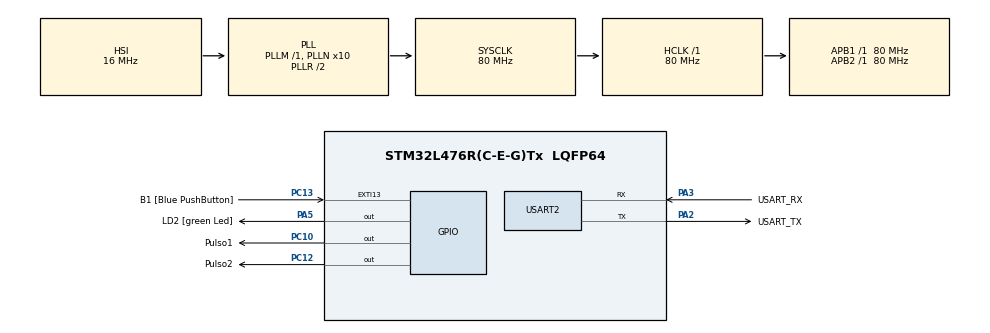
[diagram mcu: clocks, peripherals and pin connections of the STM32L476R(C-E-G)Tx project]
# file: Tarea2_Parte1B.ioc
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FREERTOS.Tasks01=Task_Pulso1,8,128,StartDefaultTask,Default,NULL,Dynamic,NULL,NULL;Task_Pulso2,8,128,StartTask02,Default,NULL,Dynamic,NULL,NULL;Multiplicar,40,128,StartTask03,Default,NULL,Dynamic,NULL,NULL
Mcu.Family=STM32L4
Mcu.Name=STM32L476R(C-E-G)Tx
Mcu.Package=LQFP64
NVIC.PriorityGroup=NVIC_PRIORITYGROUP_4
NVIC.TIM6_DAC_IRQn=true\:15\:0\:false\:false\:true\:false\:false\:true\:true
NVIC.TimeBase=TIM6_DAC_IRQn
NVIC.TimeBaseIP=TIM6
PA13\ (JTMS-SWDIO).GPIO_Label=TMS
PA13\ (JTMS-SWDIO).Mode=Serial_Wire
PA13\ (JTMS-SWDIO).Signal=SYS_JTMS-SWDIO
PA14\ (JTCK-SWCLK).GPIO_Label=TCK
PA14\ (JTCK-SWCLK).Mode=Serial_Wire
PA14\ (JTCK-SWCLK).Signal=SYS_JTCK-SWCLK
PA2.GPIO_Label=USART_TX
PA2.GPIO_Mode=GPIO_MODE_AF_PP
PA2.GPIO_PuPd=GPIO_NOPULL
PA2.GPIO_Speed=GPIO_SPEED_FREQ_VERY_HIGH
PA2.Mode=Asynchronous
PA2.Signal=USART2_TX
PA3.GPIO_Label=USART_RX
PA3.GPIO_Mode=GPIO_MODE_AF_PP
PA3.GPIO_PuPd=GPIO_NOPULL
PA3.GPIO_Speed=GPIO_SPEED_FREQ_VERY_HIGH
PA3.Mode=Asynchronous
PA3.Signal=USART2_RX
PA5.GPIO_Label=LD2 [green Led]
PA5.GPIO_ModeDefaultOutputPP=GPIO_MODE_OUTPUT_PP
PA5.GPIO_PuPd=GPIO_NOPULL
PA5.GPIO_Speed=GPIO_SPEED_FREQ_LOW
PA5.Signal=GPIO_Output
PB3\ (JTDO-TRACESWO).GPIO_Label=SWO
PB3\ (JTDO-TRACESWO).Signal=SYS_JTDO-SWO
PC10.GPIO_Label=Pulso1
PC10.Signal=GPIO_Output
PC12.GPIO_Label=Pulso2
PC12.Signal=GPIO_Output
PC13.GPIO_Label=B1 [Blue PushButton]
PC13.GPIO_ModeDefaultEXTI=GPIO_MODE_IT_FALLING
PC13.GPIO_PuPd=GPIO_NOPULL
PC13.Signal=GPXTI13
PC14-OSC32_IN\ (PC14).Mode=LSE-External-Oscillator
PC14-OSC32_IN\ (PC14).Signal=RCC_OSC32_IN
PC15-OSC32_OUT\ (PC15).Mode=LSE-External-Oscillator
PC15-OSC32_OUT\ (PC15).Signal=RCC_OSC32_OUT
PH0-OSC_IN\ (PH0).Signal=RCC_OSC_IN
PH1-OSC_OUT\ (PH1).Signal=RCC_OSC_OUT
ProjectManager.HeapSize=0x200
ProjectManager.StackSize=0x400
ProjectManager.TargetToolchain=STM32CubeIDE
RCC.ADCFreq_Value=64000000
RCC.AHBFreq_Value=80000000
RCC.APB1Freq_Value=80000000
RCC.APB1TimFreq_Value=80000000
RCC.APB2Freq_Value=80000000
RCC.APB2TimFreq_Value=80000000
RCC.CortexFreq_Value=80000000
RCC.HCLKFreq_Value=80000000
RCC.HSE_VALUE=8000000
RCC.HSI_VALUE=16000000
RCC.MSI_VALUE=4000000
RCC.PLLN=10
RCC.PLLSourceVirtual=RCC_PLLSOURCE_HSI
RCC.PREFETCH_ENABLE=1
RCC.SYSCLKFreq_VALUE=80000000
RCC.SYSCLKSource=RCC_SYSCLKSOURCE_PLLCLK
RCC.USBFreq_Value=64000000
RCC.VCOOutputFreq_Value=160000000
USART2.VirtualMode-Asynchronous=VM_ASYNC
VP_FREERTOS_VS_CMSIS_V2.Mode=CMSIS_V2
VP_SYS_VS_tim6.Mode=TIM6
board=NUCLEO-L476RG

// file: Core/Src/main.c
/* USER CODE BEGIN Header */
/**
  ******************************************************************************
  * @file           : main.c
  * @brief          : Main program body
  ******************************************************************************
  * @attention
  *
  * Copyright (c) 2026 STMicroelectronics.
  * All rights reserved.
  *
  * This software is licensed under terms that can be found in the LICENSE file
  * in the root directory of this software component.
  * If no LICENSE file comes with this software, it is provided AS-IS.
  *
  ******************************************************************************
  */
/* USER CODE END Header */
#include "main.h"
#include "cmsis_os.h"
#include "stdlib.h"

/* USER CODE BEGIN PD */
#define tamano_arr 100
/* USER CODE END PD */

UART_HandleTypeDef huart2;

/* Definitions for Task_Pulso1 */
osThreadId_t Task_Pulso1Handle;
const osThreadAttr_t Task_Pulso1_attributes = {
  .name = "Task_Pulso1",
  .stack_size = 128 * 4,
  .priority = (osPriority_t) osPriorityLow,
};
/* Definitions for Task_Pulso2 */
osThreadId_t Task_Pulso2Handle;
const osThreadAttr_t Task_Pulso2_attributes = {
  .name = "Task_Pulso2",
  .stack_size = 128 * 4,
  .priority = (osPriority_t) osPriorityLow,
};
/* Definitions for Multiplicar */
osThreadId_t MultiplicarHandle;
const osThreadAttr_t Multiplicar_attributes = {
  .name = "Multiplicar",
  .stack_size = 128 * 4,
  .priority = (osPriority_t) osPriorityHigh,
};
/* USER CODE BEGIN PV */
volatile float fact1[tamano_arr];
volatile float fact2[tamano_arr];
volatile float prod[tamano_arr];
/* USER CODE END PV */

void SystemClock_Config(void);
static void MX_GPIO_Init(void);
static void MX_USART2_UART_Init(void);
void StartDefaultTask(void *argument);
void StartTask02(void *argument);
void StartTask03(void *argument);

int main(void)
{

  /* MCU Configuration--------------------------------------------------------*/

  /* Reset of all peripherals, Initializes the Flash interface and the Systick. */
  HAL_Init();

  /* Configure the system clock */
  SystemClock_Config();

  /* Initialize all configured peripherals */
  MX_GPIO_Init();
  MX_USART2_UART_Init();

  /* Init scheduler */
  osKernelInitialize();

  /* Create the thread(s) */
  /* creation of Task_Pulso1 */
  Task_Pulso1Handle = osThreadNew(StartDefaultTask, NULL, &Task_Pulso1_attributes);

  /* creation of Task_Pulso2 */
  Task_Pulso2Handle = osThreadNew(StartTask02, NULL, &Task_Pulso2_attributes);

  /* creation of Multiplicar */
  MultiplicarHandle = osThreadNew(StartTask03, NULL, &Multiplicar_attributes);

  /* Start scheduler */
  osKernelStart();

  /* We should never get here as control is now taken by the scheduler */
  /* Infinite loop */
  while (1)
  {

  }
}

void SystemClock_Config(void)
{
  RCC_OscInitTypeDef RCC_OscInitStruct = {0};
  RCC_ClkInitTypeDef RCC_ClkInitStruct = {0};

  /** Configure the main internal regulator output voltage
  */
  if (HAL_PWREx_ControlVoltageScaling(PWR_REGULATOR_VOLTAGE_SCALE1) != HAL_OK)
  {
    Error_Handler();
  }

  /** Initializes the RCC Oscillators according to the specified parameters
  * in the RCC_OscInitTypeDef structure.
  */
  RCC_OscInitStruct.OscillatorType = RCC_OSCILLATORTYPE_HSI;
  RCC_OscInitStruct.HSIState = RCC_HSI_ON;
  RCC_OscInitStruct.HSICalibrationValue = RCC_HSICALIBRATION_DEFAULT;
  RCC_OscInitStruct.PLL.PLLState = RCC_PLL_ON;
  RCC_OscInitStruct.PLL.PLLSource = RCC_PLLSOURCE_HSI;
  RCC_OscInitStruct.PLL.PLLM = 1;
  RCC_OscInitStruct.PLL.PLLN = 10;
  RCC_OscInitStruct.PLL.PLLP = RCC_PLLP_DIV7;
  RCC_OscInitStruct.PLL.PLLQ = RCC_PLLQ_DIV2;
  RCC_OscInitStruct.PLL.PLLR = RCC_PLLR_DIV2;
  if (HAL_RCC_OscConfig(&RCC_OscInitStruct) != HAL_OK)
  {
    Error_Handler();
  }

  /** Initializes the CPU, AHB and APB buses clocks
  */
  RCC_ClkInitStruct.ClockType = RCC_CLOCKTYPE_HCLK|RCC_CLOCKTYPE_SYSCLK
                              |RCC_CLOCKTYPE_PCLK1|RCC_CLOCKTYPE_PCLK2;
  RCC_ClkInitStruct.SYSCLKSource = RCC_SYSCLKSOURCE_PLLCLK;
  RCC_ClkInitStruct.AHBCLKDivider = RCC_SYSCLK_DIV1;
  RCC_ClkInitStruct.APB1CLKDivider = RCC_HCLK_DIV1;
  RCC_ClkInitStruct.APB2CLKDivider = RCC_HCLK_DIV1;

  if (HAL_RCC_ClockConfig(&RCC_ClkInitStruct, FLASH_LATENCY_4) != HAL_OK)
  {
    Error_Handler();
  }
}

static void MX_USART2_UART_Init(void)
{

  huart2.Instance = USART2;
  huart2.Init.BaudRate = 115200;
  huart2.Init.WordLength = UART_WORDLENGTH_8B;
  huart2.Init.StopBits = UART_STOPBITS_1;
  huart2.Init.Parity = UART_PARITY_NONE;
  huart2.Init.Mode = UART_MODE_TX_RX;
  huart2.Init.HwFlowCtl = UART_HWCONTROL_NONE;
  huart2.Init.OverSampling = UART_OVERSAMPLING_16;
  huart2.Init.OneBitSampling = UART_ONE_BIT_SAMPLE_DISABLE;
  huart2.AdvancedInit.AdvFeatureInit = UART_ADVFEATURE_NO_INIT;
  if (HAL_UART_Init(&huart2) != HAL_OK)
  {
    Error_Handler();
  }

}

static void MX_GPIO_Init(void)
{
  GPIO_InitTypeDef GPIO_InitStruct = {0};

  /* GPIO Ports Clock Enable */
  __HAL_RCC_GPIOC_CLK_ENABLE();
  __HAL_RCC_GPIOH_CLK_ENABLE();
  __HAL_RCC_GPIOA_CLK_ENABLE();
  __HAL_RCC_GPIOB_CLK_ENABLE();

  /*Configure GPIO pin Output Level */
  HAL_GPIO_WritePin(LD2_GPIO_Port, LD2_Pin, GPIO_PIN_RESET);

  /*Configure GPIO pin Output Level */
  HAL_GPIO_WritePin(GPIOC, Pulso1_Pin|Pulso2_Pin, GPIO_PIN_RESET);

  /*Configure GPIO pin : B1_Pin */
  GPIO_InitStruct.Pin = B1_Pin;
  GPIO_InitStruct.Mode = GPIO_MODE_IT_FALLING;
  GPIO_InitStruct.Pull = GPIO_NOPULL;
  HAL_GPIO_Init(B1_GPIO_Port, &GPIO_InitStruct);

  /*Configure GPIO pin : LD2_Pin */
  GPIO_InitStruct.Pin = LD2_Pin;
  GPIO_InitStruct.Mode = GPIO_MODE_OUTPUT_PP;
  GPIO_InitStruct.Pull = GPIO_NOPULL;
  GPIO_InitStruct.Speed = GPIO_SPEED_FREQ_LOW;
  HAL_GPIO_Init(LD2_GPIO_Port, &GPIO_InitStruct);

  /*Configure GPIO pins : Pulso1_Pin Pulso2_Pin */
  GPIO_InitStruct.Pin = Pulso1_Pin|Pulso2_Pin;
  GPIO_InitStruct.Mode = GPIO_MODE_OUTPUT_PP;
  GPIO_InitStruct.Pull = GPIO_NOPULL;
  GPIO_InitStruct.Speed = GPIO_SPEED_FREQ_LOW;
  HAL_GPIO_Init(GPIOC, &GPIO_InitStruct);

}

void StartDefaultTask(void *argument)
{
  /* USER CODE BEGIN 5 */
  /* Infinite loop */
  for(;;)
  {
	  HAL_GPIO_WritePin(Pulso1_GPIO_Port, Pulso1_Pin, GPIO_PIN_RESET);
	  osDelay(100);
	  HAL_GPIO_WritePin(Pulso1_GPIO_Port, Pulso1_Pin, GPIO_PIN_SET);
	  osDelay(10);
  }
  /* USER CODE END 5 */
}

void StartTask02(void *argument)
{
  /* USER CODE BEGIN StartTask02 */
  /* Infinite loop */
  for(;;)
  {
	  HAL_GPIO_WritePin(Pulso2_GPIO_Port, Pulso2_Pin, GPIO_PIN_RESET);
	  osDelay(200);
	  HAL_GPIO_WritePin(Pulso2_GPIO_Port, Pulso2_Pin, GPIO_PIN_SET);
	  osDelay(20);
  }
  /* USER CODE END StartTask02 */
}

void StartTask03(void *argument)
{
	/* USER CODE BEGIN StartHighPriorityTask */
	  srand(0);

	  /* Infinite loop */
	  for(;;)
	  {
	    for(int i = 0; i < tamano_arr; i++) { //Se llenan los arreglos de manera aleatoria
	      fact1[i] = (float)rand() / (float)RAND_MAX;
	      fact1[i] = (float)rand() / (float)RAND_MAX;
	    }

	    for(int j = 0; j < 1000; j++) {
	      for(int i = 0; i < tamano_arr; i++) {
	        prod[i] = fact1[i] * fact2[i];
	      }
	    }
	    osDelay(30);
	  }
	  /* USER CODE END StartHighPriorityTask */
}

void HAL_TIM_PeriodElapsedCallback(TIM_HandleTypeDef *htim)
{
  if (htim->Instance == TIM6) {
    HAL_IncTick();
  }
}

void Error_Handler(void)
{
  __disable_irq();
  while (1)
  {
  }
}
